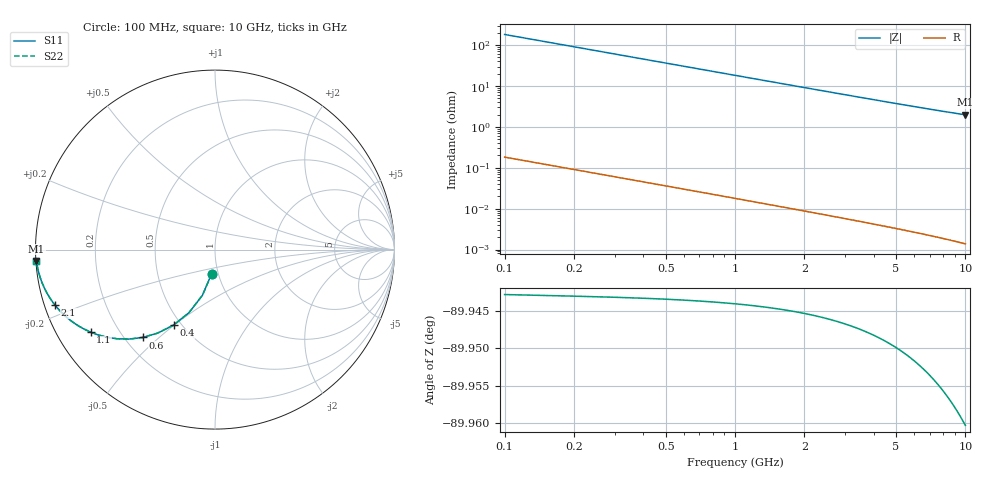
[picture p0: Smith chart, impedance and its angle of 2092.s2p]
# Hz S RI R 50.00
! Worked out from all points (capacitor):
!   100 points, 100 MHz to 10 GHz, reference 50 ohm
!   read as one part in shunt: C = 8.72 pF near 100 MHz
!   lowest |Z| = 1.98 ohm at 10 GHz (marker M1)
!   S11 on the Smith chart (normalised r, x): 100 MHz: 0.93, -0.25; 400 MHz: 0.45, -0.50; 600 MHz: 0.27, -0.44; 1.1 GHz: 0.10, -0.30; 2.1 GHz: 0.03, -0.17; 10 GHz: 0.00, -0.03
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1e8  -0.0185 -0.1343  0.9815 -0.1344  0.9815 -0.1344  -0.0185 -0.1343
2e8  -0.0699 -0.2544  0.93 -0.2547  0.93 -0.2547  -0.0699 -0.2544
3e8  -0.1445 -0.3509  0.8554 -0.3514  0.8554 -0.3514  -0.1445 -0.3509
4e8  -0.2309 -0.4206  0.7691 -0.4212  0.7691 -0.4212  -0.2309 -0.4206
5e8  -0.3191 -0.4653  0.6808 -0.466  0.6808 -0.466  -0.3191 -0.4653
6e8  -0.4029 -0.4895  0.5971 -0.4904  0.5971 -0.4904  -0.4029 -0.4895
7e8  -0.4786 -0.4985  0.5214 -0.4996  0.5214 -0.4996  -0.4786 -0.4985
8e8  -0.5451 -0.4969  0.4548 -0.498  0.4548 -0.498  -0.5451 -0.4969
9e8  -0.6026 -0.4882  0.3974 -0.4895  0.3974 -0.4895  -0.6026 -0.4882
1.1e9  -0.6936 -0.4597  0.3064 -0.4613  0.3064 -0.4613  -0.6936 -0.4597
1.2e9  -0.7292 -0.443  0.2707 -0.4447  0.2707 -0.4447  -0.7292 -0.443
1.4e9  -0.7856 -0.4089  0.2144 -0.4109  0.2144 -0.4109  -0.7856 -0.4089
1.6e9  -0.8271 -0.3765  0.1729 -0.3789  0.1729 -0.3789  -0.8271 -0.3765
1.8e9  -0.8581 -0.347  0.1418 -0.3497  0.1418 -0.3497  -0.8581 -0.347
2.1e9  -0.8916 -0.3087  0.1083 -0.3118  0.1083 -0.3118  -0.8916 -0.3087
2.7e9  -0.9315 -0.2501  0.0685 -0.2541  0.0685 -0.2541  -0.9315 -0.2501
3.4e9  -0.9556 -0.2028  0.0443 -0.2079  0.0443 -0.2079  -0.9556 -0.2028
4.2e9  -0.9705 -0.1655  0.0295 -0.1718  0.0295 -0.1718  -0.9705 -0.1655
5.1e9  -0.9798 -0.1362  0.0201 -0.1439  0.0201 -0.1439  -0.9798 -0.1362
6.7e9  -0.9882 -0.1019  0.0116 -0.1121  0.0116 -0.1121  -0.9882 -0.1019
8.4e9  -0.9925 -0.0786  0.00732 -0.0916  0.00732 -0.0916  -0.9925 -0.0786
1e10  -0.9948 -0.0631  0.00506 -0.0788  0.00506 -0.0788  -0.9948 -0.0631
